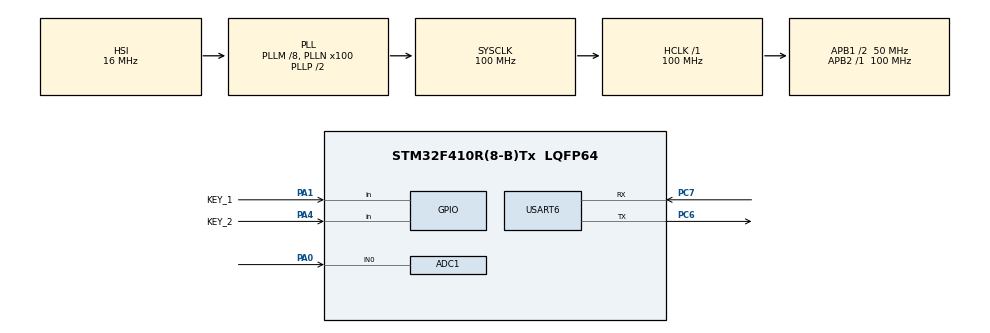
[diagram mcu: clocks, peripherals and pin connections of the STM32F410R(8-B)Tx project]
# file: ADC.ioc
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ADC1.Channel-1\#ChannelRegularConversion=ADC_CHANNEL_0
ADC1.NbrOfConversionFlag=1
ADC1.Rank-1\#ChannelRegularConversion=1
ADC1.SamplingTime-1\#ChannelRegularConversion=ADC_SAMPLETIME_3CYCLES
ADC1.master=1
Mcu.Family=STM32F4
Mcu.Name=STM32F410R(8-B)Tx
Mcu.Package=LQFP64
NVIC.PriorityGroup=NVIC_PRIORITYGROUP_4
PA0-WKUP.Signal=ADCx_IN0
PA1.GPIO_Label=KEY_1
PA1.GPIO_PuPd=GPIO_PULLUP
PA1.Signal=GPIO_Input
PA4.GPIO_Label=KEY_2
PA4.GPIO_PuPd=GPIO_PULLUP
PA4.Signal=GPIO_Input
PC6.Mode=Asynchronous
PC6.Signal=USART6_TX
PC7.Mode=Asynchronous
PC7.Signal=USART6_RX
ProjectManager.HeapSize=0x200
ProjectManager.StackSize=0x400
ProjectManager.TargetToolchain=MDK-ARM V5.32
RCC.48MHZClocksFreq_Value=50000000
RCC.AHBFreq_Value=100000000
RCC.APB1CLKDivider=RCC_HCLK_DIV2
RCC.APB1Freq_Value=50000000
RCC.APB1TimFreq_Value=100000000
RCC.APB2Freq_Value=100000000
RCC.APB2TimFreq_Value=100000000
RCC.CortexFreq_Value=100000000
RCC.HCLKFreq_Value=100000000
RCC.HSE_VALUE=25000000
RCC.HSI_VALUE=16000000
RCC.LSE_VALUE=32768
RCC.PLLM=8
RCC.PLLN=100
RCC.SYSCLKFreq_VALUE=100000000
RCC.SYSCLKSource=RCC_SYSCLKSOURCE_PLLCLK
RCC.VCOOutputFreq_Value=200000000
SH.ADCx_IN0.0=ADC1_IN0,IN0
USART6.VirtualMode=VM_ASYNC
board=custom

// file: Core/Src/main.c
/* USER CODE BEGIN Header */
/**
  ******************************************************************************
  * @file           : main.c
  * @brief          : Main program body
  ******************************************************************************
  * @attention
  *
  * Copyright (c) 2024 STMicroelectronics.
  * All rights reserved.
  *
  * This software is licensed under terms that can be found in the LICENSE file
  * in the root directory of this software component.
  * If no LICENSE file comes with this software, it is provided AS-IS.
  *
  ******************************************************************************
  */
/* USER CODE END Header */
#include "main.h"

/* USER CODE BEGIN Includes */

uint8_t data[3];
uint16_t adc_value = 0;

/* USER CODE END Includes */

ADC_HandleTypeDef hadc1;

UART_HandleTypeDef huart6;

void SystemClock_Config(void);
static void MX_GPIO_Init(void);
static void MX_ADC1_Init(void);
static void MX_USART6_UART_Init(void);

int main(void)
{

  /* MCU Configuration--------------------------------------------------------*/

  /* Reset of all peripherals, Initializes the Flash interface and the Systick. */
  HAL_Init();

  /* Configure the system clock */
  SystemClock_Config();

  /* Initialize all configured peripherals */
  MX_GPIO_Init();
  MX_ADC1_Init();
  MX_USART6_UART_Init();

  /* Infinite loop */
  /* USER CODE BEGIN WHILE */
  while (1)
  {
		HAL_ADC_Start( &hadc1 );

		if( HAL_ADC_PollForConversion( &hadc1, 100 ) == HAL_OK ){
			adc_value = HAL_ADC_GetValue( &hadc1 );
		}

		if( HAL_GPIO_ReadPin ( KEY_1_GPIO_Port, KEY_1_Pin ) == GPIO_PIN_RESET ){
			data[0] = 1;
			data[1] = (uint16_t)adc_value >> 8;
			data[2] = (uint8_t)adc_value;
			HAL_UART_Transmit( &huart6, data, 3, 100 );
		}

		if( HAL_GPIO_ReadPin ( KEY_2_GPIO_Port, KEY_2_Pin ) == GPIO_PIN_RESET ){
			data[0] = 2;
			data[1] = (uint16_t)adc_value >> 8;
			data[2] = (uint8_t)adc_value;
			HAL_UART_Transmit( &huart6, data, 3, 100 );
		}

    /* USER CODE END WHILE */

  }
}

void SystemClock_Config(void)
{
  RCC_OscInitTypeDef RCC_OscInitStruct = {0};
  RCC_ClkInitTypeDef RCC_ClkInitStruct = {0};

  /** Configure the main internal regulator output voltage
  */
  __HAL_RCC_PWR_CLK_ENABLE();
  __HAL_PWR_VOLTAGESCALING_CONFIG(PWR_REGULATOR_VOLTAGE_SCALE1);

  /** Initializes the RCC Oscillators according to the specified parameters
  * in the RCC_OscInitTypeDef structure.
  */
  RCC_OscInitStruct.OscillatorType = RCC_OSCILLATORTYPE_HSI;
  RCC_OscInitStruct.HSIState = RCC_HSI_ON;
  RCC_OscInitStruct.HSICalibrationValue = RCC_HSICALIBRATION_DEFAULT;
  RCC_OscInitStruct.PLL.PLLState = RCC_PLL_ON;
  RCC_OscInitStruct.PLL.PLLSource = RCC_PLLSOURCE_HSI;
  RCC_OscInitStruct.PLL.PLLM = 8;
  RCC_OscInitStruct.PLL.PLLN = 100;
  RCC_OscInitStruct.PLL.PLLP = RCC_PLLP_DIV2;
  RCC_OscInitStruct.PLL.PLLQ = 4;
  RCC_OscInitStruct.PLL.PLLR = 2;
  if (HAL_RCC_OscConfig(&RCC_OscInitStruct) != HAL_OK)
  {
    Error_Handler();
  }

  /** Initializes the CPU, AHB and APB buses clocks
  */
  RCC_ClkInitStruct.ClockType = RCC_CLOCKTYPE_HCLK|RCC_CLOCKTYPE_SYSCLK
                              |RCC_CLOCKTYPE_PCLK1|RCC_CLOCKTYPE_PCLK2;
  RCC_ClkInitStruct.SYSCLKSource = RCC_SYSCLKSOURCE_PLLCLK;
  RCC_ClkInitStruct.AHBCLKDivider = RCC_SYSCLK_DIV1;
  RCC_ClkInitStruct.APB1CLKDivider = RCC_HCLK_DIV2;
  RCC_ClkInitStruct.APB2CLKDivider = RCC_HCLK_DIV1;

  if (HAL_RCC_ClockConfig(&RCC_ClkInitStruct, FLASH_LATENCY_3) != HAL_OK)
  {
    Error_Handler();
  }
}

static void MX_ADC1_Init(void)
{

  ADC_ChannelConfTypeDef sConfig = {0};

  /** Configure the global features of the ADC (Clock, Resolution, Data Alignment and number of conversion)
  */
  hadc1.Instance = ADC1;
  hadc1.Init.ClockPrescaler = ADC_CLOCK_SYNC_PCLK_DIV4;
  hadc1.Init.Resolution = ADC_RESOLUTION_12B;
  hadc1.Init.ScanConvMode = DISABLE;
  hadc1.Init.ContinuousConvMode = DISABLE;
  hadc1.Init.DiscontinuousConvMode = DISABLE;
  hadc1.Init.ExternalTrigConvEdge = ADC_EXTERNALTRIGCONVEDGE_NONE;
  hadc1.Init.ExternalTrigConv = ADC_SOFTWARE_START;
  hadc1.Init.DataAlign = ADC_DATAALIGN_RIGHT;
  hadc1.Init.NbrOfConversion = 1;
  hadc1.Init.DMAContinuousRequests = DISABLE;
  hadc1.Init.EOCSelection = ADC_EOC_SINGLE_CONV;
  if (HAL_ADC_Init(&hadc1) != HAL_OK)
  {
    Error_Handler();
  }

  /** Configure for the selected ADC regular channel its corresponding rank in the sequencer and its sample time.
  */
  sConfig.Channel = ADC_CHANNEL_0;
  sConfig.Rank = 1;
  sConfig.SamplingTime = ADC_SAMPLETIME_3CYCLES;
  if (HAL_ADC_ConfigChannel(&hadc1, &sConfig) != HAL_OK)
  {
    Error_Handler();
  }

}

static void MX_USART6_UART_Init(void)
{

  huart6.Instance = USART6;
  huart6.Init.BaudRate = 115200;
  huart6.Init.WordLength = UART_WORDLENGTH_8B;
  huart6.Init.StopBits = UART_STOPBITS_1;
  huart6.Init.Parity = UART_PARITY_NONE;
  huart6.Init.Mode = UART_MODE_TX_RX;
  huart6.Init.HwFlowCtl = UART_HWCONTROL_NONE;
  huart6.Init.OverSampling = UART_OVERSAMPLING_16;
  if (HAL_UART_Init(&huart6) != HAL_OK)
  {
    Error_Handler();
  }

}

static void MX_GPIO_Init(void)
{
  GPIO_InitTypeDef GPIO_InitStruct = {0};

  /* GPIO Ports Clock Enable */
  __HAL_RCC_GPIOA_CLK_ENABLE();
  __HAL_RCC_GPIOC_CLK_ENABLE();

  /*Configure GPIO pins : KEY_1_Pin KEY_2_Pin */
  GPIO_InitStruct.Pin = KEY_1_Pin|KEY_2_Pin;
  GPIO_InitStruct.Mode = GPIO_MODE_INPUT;
  GPIO_InitStruct.Pull = GPIO_PULLUP;
  HAL_GPIO_Init(GPIOA, &GPIO_InitStruct);

}

void Error_Handler(void)
{
  __disable_irq();
  while (1)
  {
  }
}
